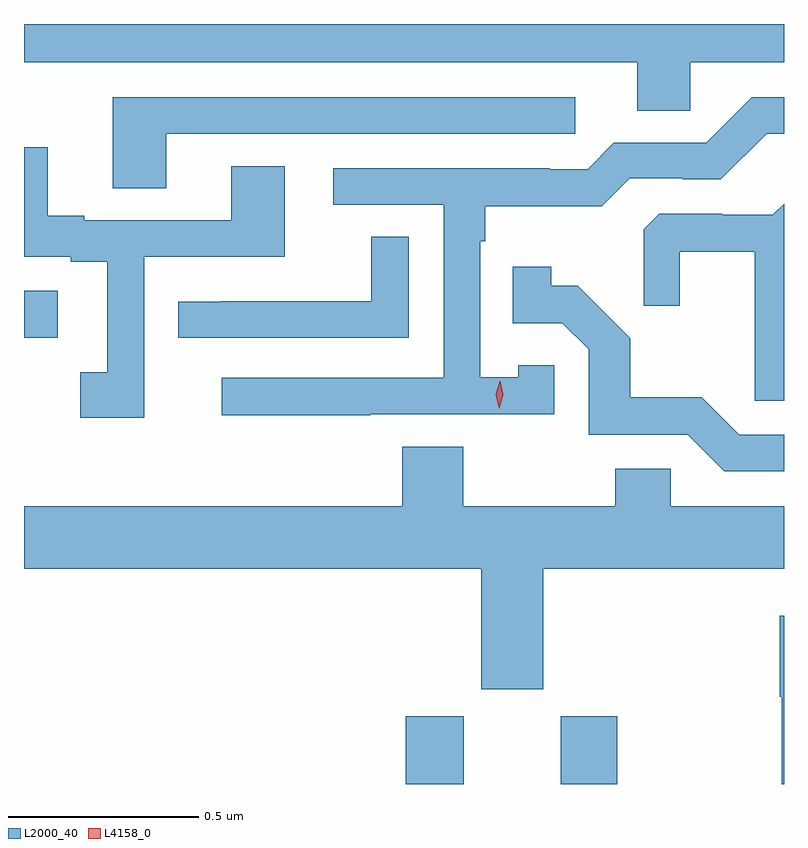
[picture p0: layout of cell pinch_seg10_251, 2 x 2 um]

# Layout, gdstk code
import gdstk
lib = gdstk.Library(unit=1e-6, precision=1e-09)
def R(c, l, rs):  # rectangles x0, y0, x1, y1
    for r in rs: c.add(gdstk.rectangle(r[:2], r[2:], *l))
def P(c, l, *ps):  # polygons
    for p in ps: c.add(gdstk.Polygon(p, *l))
L2000_40 = (2000, 40)
L4158_0 = (4158, 0)

pinch_seg10_251 = lib.new_cell('pinch_seg10_251')
R(pinch_seg10_251, L2000_40, [(613.472,1311.737,613.624,1311.915), (613.88,1311.737,614.028,1311.915), (612.467,1312.911,612.556,1313.035)])
P(pinch_seg10_251, L2000_40, [(614.22,1313.636),(614.467,1313.636),(614.467,1313.737),(612.467,1313.737),(612.467,1313.636),(614.081,1313.636),(614.081,1313.509),(614.22,1313.509)],
  [(612.841,1313.448),(613.918,1313.448),(613.918,1313.544),(612.701,1313.544),(612.701,1313.305),(612.841,1313.305)],
  [(613.379,1312.71),(613.863,1312.71),(613.863,1312.839),(613.767,1312.839),(613.767,1312.807),(613.668,1312.807),(613.668,1313.165),(613.681,1313.165),(613.681,1313.258),(613.988,1313.258),(614.061,1313.331),(614.2,1313.331),(614.2,1313.328),(614.301,1313.328),(614.421,1313.448),(614.467,1313.448),(614.467,1313.544),(614.382,1313.544),(614.262,1313.424),(614.019,1313.424),(613.95,1313.355),(613.85,1313.355),(613.85,1313.358),(613.281,1313.358),(613.281,1313.262),(613.572,1313.262),(613.572,1312.806),(612.987,1312.806),(612.987,1312.708),(613.379,1312.708)],
  [(612.783,1313.124),(613.153,1313.124),(613.153,1313.363),(613.013,1313.363),(613.013,1313.22),(612.625,1313.22),(612.625,1313.233),(612.529,1313.233),(612.529,1313.413),(612.467,1313.413),(612.467,1313.124),(612.59,1313.124),(612.59,1313.112),(612.686,1313.112),(612.686,1312.821),(612.615,1312.821),(612.615,1312.701),(612.783,1312.701)],
  [(614.467,1313.264),(614.438,1313.235),(614.304,1313.235),(614.304,1313.238),(614.139,1313.238),(614.098,1313.197),(614.098,1312.995),(614.192,1312.995),(614.192,1313.138),(614.39,1313.138),(614.39,1312.746),(614.467,1312.746)],
  [(613.479,1313.177),(613.381,1313.177),(613.381,1313.007),(612.985,1313.007),(612.985,1313.006),(612.873,1313.006),(612.873,1312.911),(613.479,1312.911)],
  [(614.467,1312.656),(614.349,1312.656),(614.251,1312.755),(614.062,1312.755),(614.062,1312.91),(613.924,1313.048),(613.854,1313.048),(613.854,1313.098),(613.753,1313.098),(613.753,1312.95),(613.884,1312.95),(613.953,1312.881),(613.953,1312.656),(614.214,1312.656),(614.31,1312.56),(614.467,1312.56)],
  [(613.834,1312.304),(614.467,1312.304),(614.467,1312.468),(614.169,1312.468),(614.169,1312.566),(614.023,1312.566),(614.023,1312.468),(613.623,1312.468),(613.623,1312.625),(613.463,1312.625),(613.463,1312.468),(612.467,1312.468),(612.467,1312.304),(613.67,1312.304),(613.67,1311.987),(613.834,1311.987)],
  [(614.467,1312.18),(614.456,1312.18),(614.456,1311.967),(614.461,1311.967),(614.461,1311.737),(614.467,1311.737)])
P(pinch_seg10_251, L4158_0, [(613.717,1312.725),(613.717,1312.726),(613.708,1312.762),(613.719,1312.797),(613.72,1312.797),(613.72,1312.797),(613.728,1312.761),(613.717,1312.726)])

lib.write_gds('pinch_seg10_251.gds')
